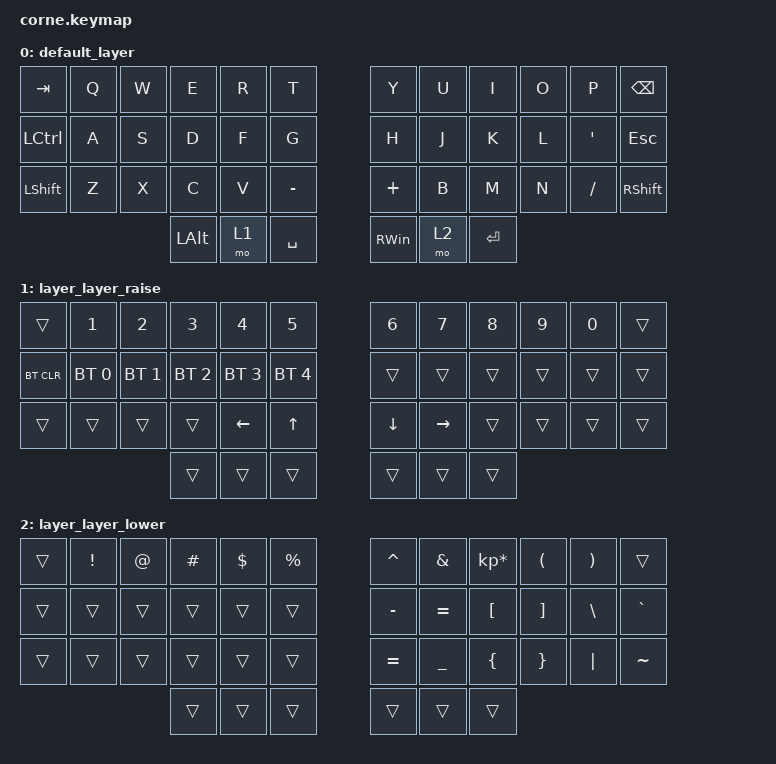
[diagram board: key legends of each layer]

/*
 * Copyright (c) 2020 The ZMK Contributors
 *
 * SPDX-License-Identifier: MIT
 */


/* THIS FILE WAS GENERATED!
 *
 * This file was generated automatically. You may or may not want to
 * edit it directly.
 */

#include <behaviors.dtsi>
#include <dt-bindings/zmk/keys.h>
#include <dt-bindings/zmk/bt.h>

/ {
    keymap {
        compatible = "zmk,keymap";


        default_layer {
            bindings = <
   &kp TAB   &kp Q   &kp W         &kp E   &kp R      &kp T                    &kp Y   &kp U      &kp I   &kp O             &kp P    &kp BACKSPACE
 &kp LCTRL   &kp A   &kp S         &kp D   &kp F      &kp G                    &kp H   &kp J      &kp K   &kp L  &kp SINGLE_QUOTE          &kp ESC
 &kp LSHFT   &kp Z   &kp X         &kp C   &kp V  &kp MINUS                 &kp PLUS   &kp B      &kp M   &kp N          &kp FSLH  &kp RIGHT_SHIFT
                            &kp LEFT_ALT   &mo 1  &kp SPACE            &kp RIGHT_WIN   &mo 2  &kp ENTER
            >;
        };

        layer_layer_raise {
            bindings = <
     &trans        &kp N1        &kp N2        &kp N3          &kp N4        &kp N5                    &kp N6           &kp N7  &kp N8  &kp N9  &kp N0  &trans
 &bt BT_CLR  &bt BT_SEL 0  &bt BT_SEL 1  &bt BT_SEL 2    &bt BT_SEL 3  &bt BT_SEL 4                    &trans           &trans  &trans  &trans  &trans  &trans
     &trans        &trans        &trans        &trans  &kp LEFT_ARROW  &kp UP_ARROW            &kp DOWN_ARROW  &kp RIGHT_ARROW  &trans  &trans  &trans  &trans
                                               &trans          &trans        &trans                    &trans           &trans  &trans
            >;
        };

        layer_layer_lower {
            bindings = <
 &trans  &kp EXCL  &kp AT  &kp HASH  &kp DLLR  &kp PRCNT            &kp CARET        &kp AMPS  &kp KP_MULTIPLY  &kp LPAR  &kp RPAR     &trans
 &trans    &trans  &trans    &trans    &trans     &trans            &kp MINUS       &kp EQUAL         &kp LBKT  &kp RBKT  &kp BSLH  &kp GRAVE
 &trans    &trans  &trans    &trans    &trans     &trans            &kp EQUAL  &kp UNDERSCORE         &kp LBRC  &kp RBRC  &kp PIPE  &kp TILDE
                             &trans    &trans     &trans               &trans          &trans           &trans
            >;
        };

    };
};
